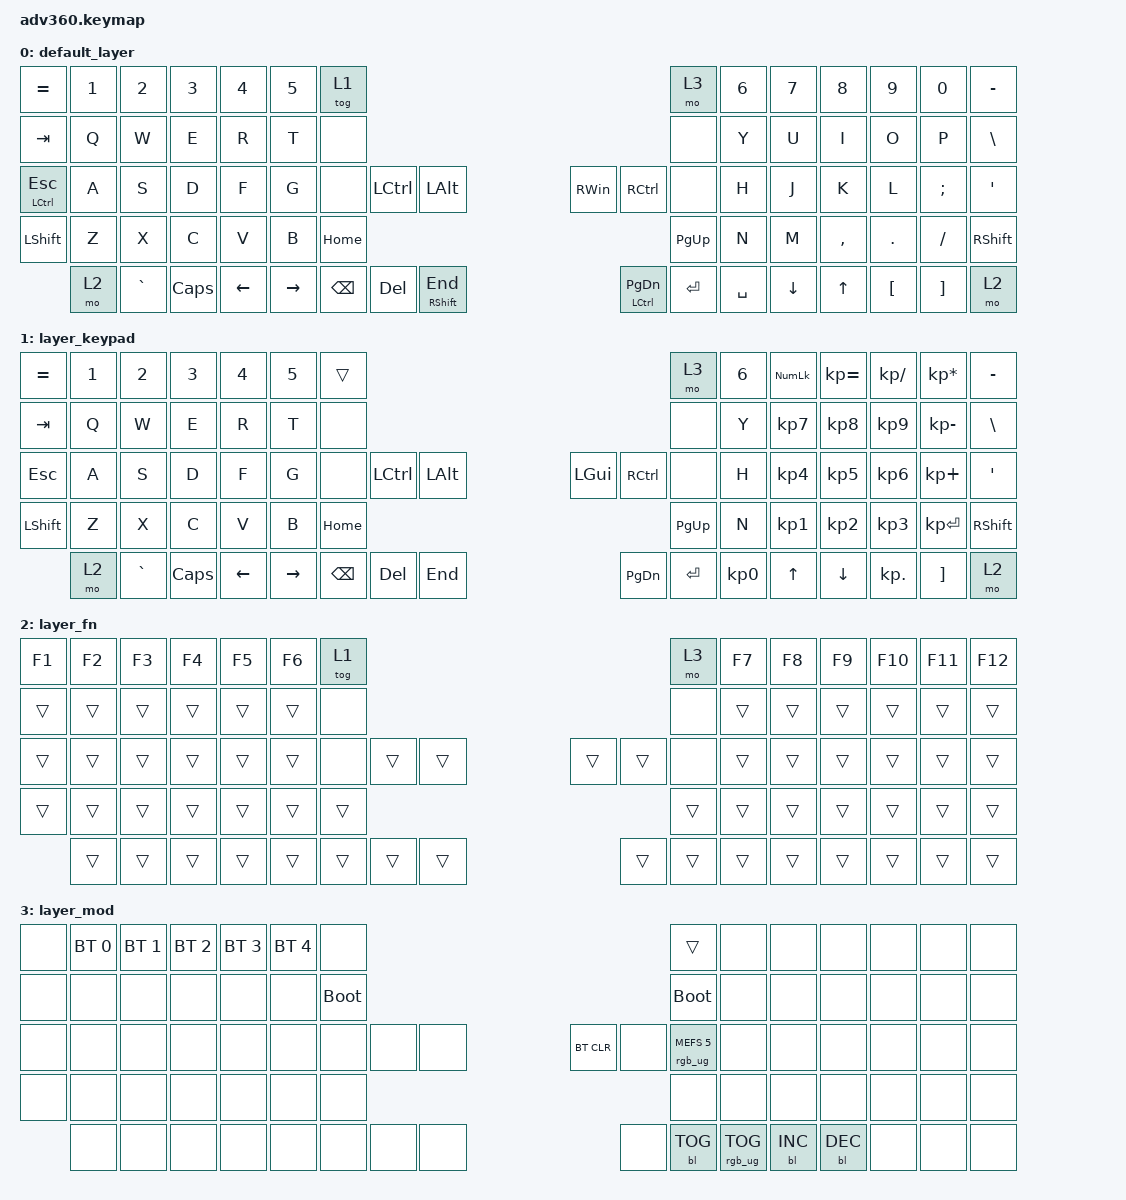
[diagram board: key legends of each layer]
#include <behaviors.dtsi>
#include <dt-bindings/zmk/keys.h>
#include <dt-bindings/zmk/bt.h>
#include <dt-bindings/zmk/rgb.h>
#include <dt-bindings/zmk/stp.h>
#include <dt-bindings/zmk/backlight.h>
#include <dt-bindings/zmk/pointing.h>



#define KEYS_LEFT 0 1 2 3 4 5 6 \
                  14 15 16 17 18 19 20 \
                  28 29 30 31 32 33 34 \
                  46 47 48 49 50 51 \
                  66 67 68 69 70

#define KEYS_RIGHT 7 8 9 10 11 12 13 \
                   21 22 23 24 25 26 27 \
                   39 40 41 42 43 44 45 \
                   60 61 62 63 64 65 \
                   77 78 79 80 81

#define THUMBS_LEFT 35 36 54 71 72 73

#define THUMBS_RIGHT 37 38 57 74 75 76

#define THUMBS THUMBS_LEFT THUMBS_RIGHT

&lt {
    quick-tap-ms = <220>;
    global-quick-tap;
};




/ {
    behaviors {
      #include "macros.dtsi"
      #include "version.dtsi"

    // hm: homerow_mods {
    //     compatible = "zmk,behavior-hold-tap";
    //     label = "HOMEROW_MODS";
    //     #binding-cells = <2>;
    //     tapping-term-ms = <200>;
    //     quick_tap_ms = <175>;
    //     flavor = "tap-preferred";
    //     bindings = <&kp>, <&kp>;
    // };

    hm_l: homerow_mods_left {
        compatible = "zmk,behavior-hold-tap";
        label = "HOMEROW_MODS_LEFT";
        #binding-cells = <2>;
        tapping-term-ms = <200>;
        quick-tap-ms = <100>;
        flavor = "balanced";
        bindings = <&kp>, <&kp>;
        hold-trigger-key-positions = <KEYS_RIGHT THUMBS>;
        global-quick-tap;
        hold-trigger-on-release;
    };

    hm_r: homerow_mods_right {
        compatible = "zmk,behavior-hold-tap";
        label = "HOMEROW_MODS_RIGHT";
        #binding-cells = <2>;
        tapping-term-ms = <200>;
        quick-tap-ms = <100>;
        flavor = "balanced";
        bindings = <&kp>, <&kp>;
        hold-trigger-key-positions = <KEYS_LEFT THUMBS>;
        global-quick-tap;
        hold-trigger-on-release;
    };
    extra1 { 
      display-name = "Red";    
      status = "reserved";
    };

    extra2 { 
      display-name = "Purple";    
      status = "reserved";
    };

    extra3 { 
      display-name = "Cyan";    
      status = "reserved";
    };

    extra4 { 
      display-name = "Yellow";    
      status = "reserved";
    };
  };

    // Home row mods
    #define _F_SFT &hm_l LSHFT F  // Shift on index fingers
    #define _J_SFT &hm_r RSHFT J
    #define _D_CTL &hm_l LCTRL D   // Control on middle fingers
    #define _K_CTL &hm_r RCTRL K
    #define _S_ALT &hm_l LALT S  // Alt on index down
    #define _L_ALT &hm_r LALT L
    #define _A_OPT &hm_l LGUI A   // Option on ring finger
    #define _SEMI_OPT &hm_r RGUI SEMI

    keymap {
        compatible = "zmk,keymap";


        default_layer {
            bindings = <
      &kp EQUAL     &kp N1    &kp N2    &kp N3     &kp N4  &kp N5              &tog 1                                                                        &mo 3   &kp N6    &kp N7     &kp N8     &kp N9    &kp N0   &kp MINUS
       &kp TAB      &kp Q     &kp W     &kp E      &kp R   &kp T               &none                                                                         &none   &kp Y     &kp U      &kp I      &kp O     &kp P    &kp BSLH
 &mt LCTRL ESC      &kp A     &kp S     &kp D      &kp F   &kp G               &none    &kp LCTRL &kp LEFT_ALT                &kp RIGHT_WIN    &kp RCTRL     &none   &kp H     &kp J      &kp K      &kp L     &kp SEMI &kp SQT
     &kp LSHFT      &kp Z     &kp X     &kp C      &kp V   &kp B                                  &kp HOME                    &kp PG_UP                              &kp N     &kp M      &kp COMMA  &kp DOT   &kp FSLH &kp RSHFT
             &mo 2  &kp GRAVE &kp CAPS  &kp LEFT   &kp RIGHT                   &kp BSPC &kp DEL   &mt RSHFT END               &mt LCTRL PG_DN  &kp ENTER     &kp SPACE         &kp DOWN   &kp UP     &kp LBKT  &kp RBKT &mo 2
            >;
        };
 //&mt LCTRL ESC      _A_OPT    _S_ALT    _D_CTL     _F_SFT  &kp G               &none  &kp LCTRL  &kp LEFT_ALT                &kp RIGHT_WIN  &kp RCTRL      &none   &kp H     _J_SFT     _K_CTL    _L_ALT  _SEMI_OPT &kp SQT

        layer_keypad {
            bindings = <
 &kp EQUAL     &kp N1    &kp N2    &kp N3     &kp N4  &kp N5              &trans                                                                 &mo 3  &kp N6  &kp KP_NUM  &kp KP_EQUAL  &kp KP_DIVIDE  &kp KP_MULTIPLY  &kp MINUS
   &kp TAB      &kp Q     &kp W     &kp E      &kp R   &kp T               &none                                                                 &none   &kp Y   &kp KP_N7     &kp KP_N8      &kp KP_N9     &kp KP_MINUS   &kp BSLH
   &kp ESC      &kp A     &kp S     &kp D      &kp F   &kp G               &none  &kp LCTRL  &kp LALT                   &kp LGUI  &kp RCTRL      &none   &kp H   &kp KP_N4     &kp KP_N5      &kp KP_N6      &kp KP_PLUS    &kp SQT
 &kp LSHFT      &kp Z     &kp X     &kp C      &kp V   &kp B                                 &kp HOME                  &kp PG_UP                         &kp N   &kp KP_N1     &kp KP_N2      &kp KP_N3     &kp KP_ENTER  &kp RSHFT
     &mo 2  &kp GRAVE  &kp CAPS  &kp LEFT  &kp RIGHT                    &kp BSPC    &kp DEL   &kp END                  &kp PG_DN  &kp ENTER  &kp KP_N0              &kp UP      &kp DOWN     &kp KP_DOT         &kp RBKT      &mo 2
            >;
        };

        layer_fn {
            bindings = <
 &kp F1  &kp F2  &kp F3  &kp F4  &kp F5  &kp F6            &tog 1                                                   &mo 3  &kp F7  &kp F8  &kp F9  &kp F10  &kp F11  &kp F12
 &trans  &trans  &trans  &trans  &trans  &trans             &none                                                   &none  &trans  &trans  &trans   &trans   &trans   &trans
 &trans  &trans  &trans  &trans  &trans  &trans             &none  &trans  &trans                  &trans  &trans   &none  &trans  &trans  &trans   &trans   &trans   &trans
 &trans  &trans  &trans  &trans  &trans  &trans                            &trans                  &trans                  &trans  &trans  &trans   &trans   &trans   &trans
 &trans  &trans  &trans  &trans  &trans                    &trans  &trans  &trans                  &trans  &trans  &trans          &trans  &trans   &trans   &trans   &trans
            >;
        };

        layer_mod {
            bindings = <
  &none  &bt BT_SEL 0  &bt BT_SEL 1  &bt BT_SEL 2  &bt BT_SEL 3  &bt BT_SEL 4                  &none                                                                          &trans   &none       &none       &none   &none   &none   &none
  &none         &none         &none         &none         &none         &none            &bootloader                                                                     &bootloader   &none       &none       &none   &none   &none   &none
  &none         &none         &none         &none         &none         &none                  &none   &none   &none                  &bt BT_CLR       &none  &rgb_ug RGB_MEFS_CMD 5   &none       &none       &none   &none   &none   &none
  &none         &none         &none         &none         &none         &none                                  &none                       &none                                       &none       &none       &none   &none   &none   &none
  &none         &none         &none         &none         &none                                &none   &none   &none                       &none  &bl BL_TOG         &rgb_ug RGB_TOG          &bl BL_INC  &bl BL_DEC   &none   &none   &none
            >;
        };

    };
};
